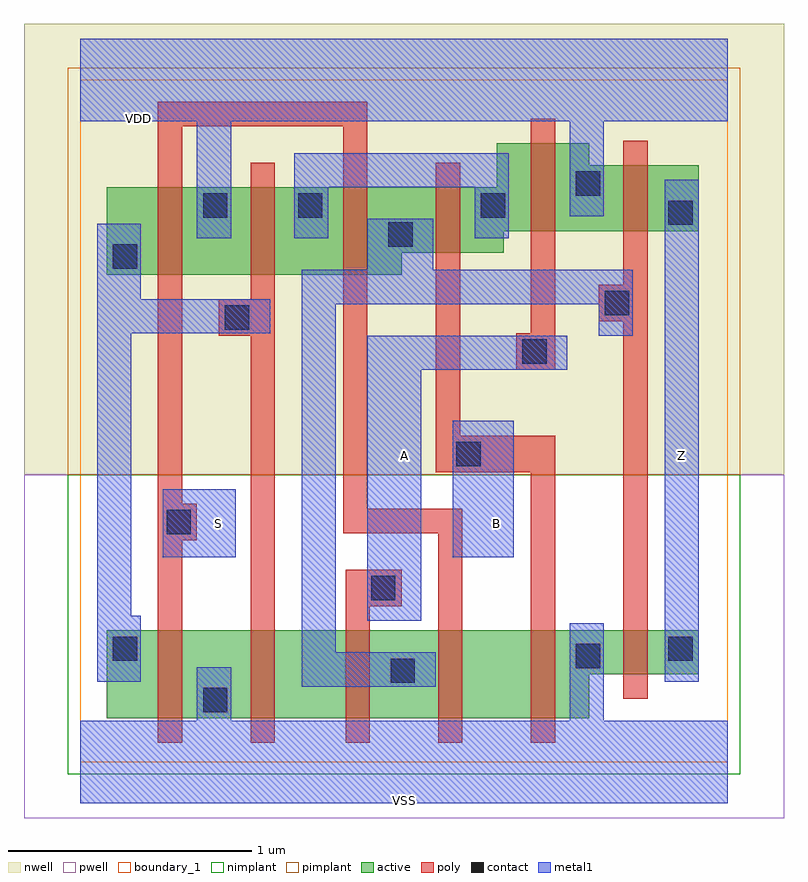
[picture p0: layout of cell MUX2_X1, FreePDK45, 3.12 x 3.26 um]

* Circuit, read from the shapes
.subckt MUX2_X1 A B S VDD VSS Z
M1 VSS S n1 VSUBS nfet w=0.36u l=0.1u
M2 n2 n1 VSS VSUBS nfet w=0.36u l=0.1u
M3 n3 A n2 VSUBS nfet w=0.36u l=0.1u
M4 n4 S n3 VSUBS nfet w=0.36u l=0.1u
M5 VSS B n4 VSUBS nfet w=0.36u l=0.1u
M6 Z n3 VSS VSUBS nfet w=0.18u l=0.1u
M7 VDD S n1 n5 pfet w=0.36u l=0.1u
M8 n6 n1 VDD n5 pfet w=0.36u l=0.1u
M9 n3 S n6 n5 pfet w=0.36u l=0.1u
M10 n6 B n3 n5 pfet w=0.27u l=0.1u
M11 VDD A n6 n5 pfet w=0.36u l=0.1u
M12 Z n3 VDD n5 pfet w=0.27u l=0.1u
.ends

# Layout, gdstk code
import gdstk
lib = gdstk.Library(unit=1e-6, precision=1e-09)
def R(c, l, rs):  # rectangles x0, y0, x1, y1
    for r in rs: c.add(gdstk.rectangle(r[:2], r[2:], *l))
def P(c, l, *ps):  # polygons
    for p in ps: c.add(gdstk.Polygon(p, *l))
active = (1, 0)
pwell = (2, 0)
nwell = (3, 0)
nimplant = (4, 0)
pimplant = (5, 0)
poly = (9, 0)
contact = (10, 0)
metal1 = (11, 0)
boundary_1 = (235, 1)

mux2_x1 = lib.new_cell('MUX2_X1')
P(mux2_x1, active, [(0.11,2),(1.32,2),(1.32,2.09),(1.74,2.09),(1.74,2.18),(2.54,2.18),(2.54,2.45),(2.09,2.45),(2.09,2.54),(1.71,2.54),(1.71,2.36),(0.11,2.36)],
  [(0.11,0.18),(2.09,0.18),(2.09,0.36),(2.54,0.36),(2.54,0.54),(0.11,0.54)])
R(mux2_x1, pwell, [(-0.23,-0.23,2.89,1.18)])
R(mux2_x1, nwell, [(-0.23,1.18,2.89,3.03)])
R(mux2_x1, nimplant, [(-0.05,-0.05,2.71,1.18)])
R(mux2_x1, pimplant, [(-0.05,1.18,2.71,2.85)])
P(mux2_x1, poly, [(2.13,1.81),(2.23,1.81),(2.23,0.26),(2.33,0.26),(2.33,2.55),(2.23,2.55),(2.23,1.96),(2.13,1.96)],
  [(1.79,1.61),(1.95,1.61),(1.95,2.64),(1.85,2.64),(1.85,1.76),(1.79,1.76)],
  [(1.46,1.19),(1.85,1.19),(1.85,0.08),(1.95,0.08),(1.95,1.34),(1.56,1.34),(1.56,2.46),(1.46,2.46)],
  [(0.42,2.61),(1.08,2.61),(1.08,0.94),(1.47,0.94),(1.47,0.08),(1.57,0.08),(1.57,1.04),(1.18,1.04),(1.18,2.71),(0.32,2.71),(0.32,0.08),(0.42,0.08),(0.42,0.91),(0.48,0.91),(0.48,1.06),(0.42,1.06)],
  [(1.09,0.08),(1.19,0.08),(1.19,0.64),(1.32,0.64),(1.32,0.79),(1.09,0.79)],
  [(0.57,1.75),(0.7,1.75),(0.7,0.08),(0.8,0.08),(0.8,2.46),(0.7,2.46),(0.7,1.9),(0.57,1.9)])
R(mux2_x1, contact, [(0.505,0.205,0.605,0.305), (1.275,0.325,1.375,0.425), (2.035,0.385,2.135,0.485), (0.135,0.415,0.235,0.515), (2.415,0.415,2.515,0.515), (1.195,0.665,1.295,0.765), (0.355,0.935,0.455,1.035), (1.545,1.215,1.645,1.315), (1.815,1.635,1.915,1.735), (0.595,1.775,0.695,1.875), (2.155,1.835,2.255,1.935), (0.135,2.025,0.235,2.125), (1.265,2.115,1.365,2.215), (2.415,2.205,2.515,2.305), (0.505,2.235,0.605,2.335), (0.895,2.235,0.995,2.335), (1.645,2.235,1.745,2.335), (2.035,2.325,2.135,2.425)])
R(mux2_x1, metal1, [(2.4,0.33,2.54,2.39), (2.4,0.33,2.54,2.39), (0.34,0.84,0.64,1.12), (0.34,0.84,0.64,1.12), (1.53,0.84,1.78,1.4), (1.53,0.84,1.78,1.4)])
P(mux2_x1, metal1, [(0,-0.17),(2.66,-0.17),(2.66,0.17),(2.15,0.17),(2.15,0.57),(2.01,0.57),(2.01,0.17),(0.62,0.17),(0.62,0.39),(0.48,0.39),(0.48,0.17),(0,0.17)],
  [(0,2.63),(0.48,2.63),(0.48,2.15),(0.62,2.15),(0.62,2.63),(2.01,2.63),(2.01,2.24),(2.15,2.24),(2.15,2.63),(2.66,2.63),(2.66,2.97),(0,2.97)],
  [(1.18,0.58),(1.4,0.58),(1.4,1.61),(2,1.61),(2,1.75),(1.18,1.75)],
  [(0,2.63),(0.48,2.63),(0.48,2.15),(0.62,2.15),(0.62,2.63),(2.01,2.63),(2.01,2.24),(2.15,2.24),(2.15,2.63),(2.66,2.63),(2.66,2.97),(0,2.97)],
  [(0,-0.17),(2.66,-0.17),(2.66,0.17),(2.15,0.17),(2.15,0.57),(2.01,0.57),(2.01,0.17),(0.62,0.17),(0.62,0.39),(0.48,0.39),(0.48,0.17),(0,0.17)],
  [(1.05,1.88),(2.13,1.88),(2.13,1.75),(2.27,1.75),(2.27,2.02),(1.45,2.02),(1.45,2.23),(1.18,2.23),(1.18,2.02),(0.91,2.02),(0.91,0.31),(1.46,0.31),(1.46,0.45),(1.05,0.45)],
  [(1.18,0.58),(1.4,0.58),(1.4,1.61),(2,1.61),(2,1.75),(1.18,1.75)],
  [(0.88,2.15),(1.02,2.15),(1.02,2.36),(1.62,2.36),(1.62,2.15),(1.76,2.15),(1.76,2.5),(0.88,2.5)],
  [(0.21,1.76),(0.78,1.76),(0.78,1.9),(0.25,1.9),(0.25,2.21),(0.07,2.21),(0.07,0.33),(0.25,0.33),(0.25,0.6),(0.21,0.6)])
R(mux2_x1, boundary_1, [(0,0,2.66,2.8)])
mux2_x1.add(gdstk.Label('Z', (2.47,1.26), layer=11, texttype=0))
mux2_x1.add(gdstk.Label('VSS', (1.33,-0.16), layer=11, texttype=0))
mux2_x1.add(gdstk.Label('VDD', (0.24,2.64), layer=11, texttype=0))
mux2_x1.add(gdstk.Label('S', (0.57,0.98), layer=11, texttype=0))
mux2_x1.add(gdstk.Label('B', (1.71,0.98), layer=11, texttype=0))
mux2_x1.add(gdstk.Label('A', (1.33,1.26), layer=11, texttype=0))

lib.write_gds('MUX2_X1.gds')
